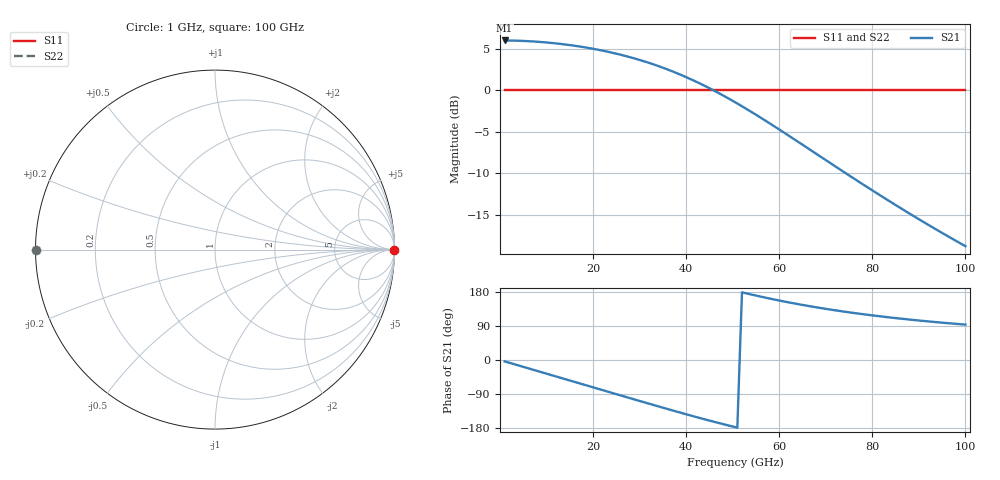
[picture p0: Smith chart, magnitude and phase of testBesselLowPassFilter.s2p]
! File created by SignalIntegrity v1.1.14: Signal and Power Integrity Tools
! https://github.com/TeledyneLeCroy/SignalIntegrity
# MHz S MA R 50.0
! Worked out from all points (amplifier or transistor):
!   100 points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, 1 GHz to 100 GHz, reference 50 ohm
!   highest |S21| = 6.0 dB at 1 GHz (marker M1)
!   |S21| within 3 dB of that: start of sweep to 33.55 GHz
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1000  1 0.0  1.999 -3.6  0 0.0  1 180.0
5000  1 0.0  1.986 -18.0  0 0.0  1 180.0
9000  1 0.0  1.955 -32.4  0 0.0  1 180.0
12000  1 0.0  1.92 -43.3  0 0.0  1 180.0
14000  1 0.0  1.891 -50.5  0 0.0  1 180.0
18000  1 0.0  1.822 -64.9  0 0.0  1 180.0
21000  1 0.0  1.759 -75.7  0 0.0  1 180.0
25000  1 0.0  1.664 -90.1  0 0.0  1 180.0
27000  1 0.0  1.61 -97.3  0 0.0  1 180.0
30000  1 0.0  1.525 -108.0  0 0.0  1 180.0
34000  1 0.0  1.401 -122.3  0 0.0  1 180.0
38000  1 0.0  1.269 -136.3  0 0.0  1 180.0
42000  1 0.0  1.133 -149.9  0 0.0  1 180.0
46000  1 0.0  0.9957 -163.1  0 0.0  1 180.0
51000  1 0.0  0.8321 -178.5  0 0.0  1 180.0
54000  1 0.0  0.741 172.8  0 0.0  1 180.0
58000  1 0.0  0.6304 162.0  0 0.0  1 180.0
62000  1 0.0  0.5333 152.2  0 0.0  1 180.0
67000  1 0.0  0.431 141.0  0 0.0  1 180.0
75000  1 0.0  0.3066 125.9  0 0.0  1 180.0
84000  1 0.0  0.2114 112.0  0 0.0  1 180.0
100000  1 0.0  0.1146 93.4  0 0.0  1 180.0
